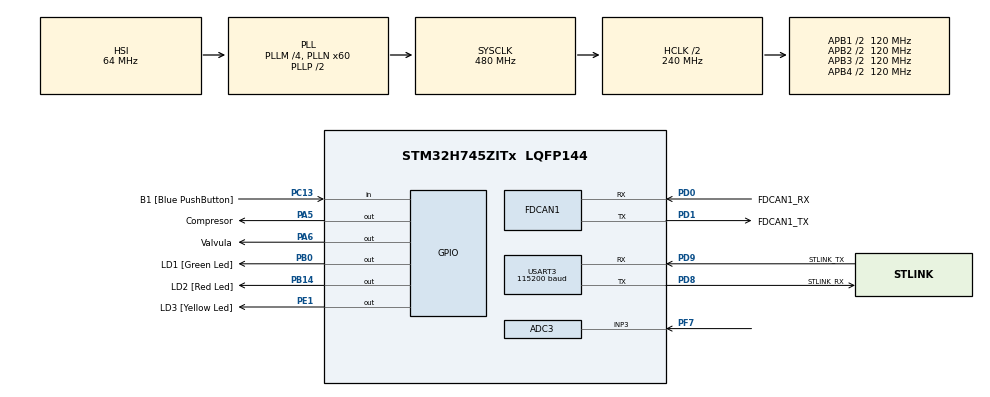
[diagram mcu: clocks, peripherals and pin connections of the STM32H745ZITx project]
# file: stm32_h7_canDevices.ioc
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ADC3.Channel-0\#ChannelRegularConversion=ADC_CHANNEL_3
ADC3.NbrOfConversionFlag=1
ADC3.OffsetNumber-0\#ChannelRegularConversion=ADC_OFFSET_NONE
ADC3.OffsetSignedSaturation-0\#ChannelRegularConversion=DISABLE
ADC3.Rank-0\#ChannelRegularConversion=1
ADC3.SamplingTime-0\#ChannelRegularConversion=ADC_SAMPLETIME_1CYCLE_5
CortexM4.IPs=BDMA,CORTEX_M4\:I,DEBUG,DMA,FATFS_M4\:I,FREERTOS_M4\:I,GPIO,IWDG2\:I,MDMA,NVIC2\:I,OPENAMP_M4\:I,PDM2PCM_M4\:I,PWR,RCC,RESMGR_UTILITY,SYS_M4\:I,USB_DEVICE_M4\:I,USB_HOST_M4\:I,VREFBUF,WWDG2\:I,USART3,ADC3
CortexM4.Pins=PE1
CortexM7.IPs=BDMA\:I,CORTEX_M7\:I,DEBUG\:I,DMA\:I,FATFS_M7\:I,FREERTOS_M7\:I,GPIO\:I,IWDG1\:I,MDMA\:I,NVIC1\:I,OPENAMP_M7\:I,PDM2PCM_M7\:I,PWR\:I,RCC\:I,RESMGR_UTILITY\:I,SYS\:I,USB_DEVICE_M7\:I,USB_HOST_M7\:I,VREFBUF\:I,WWDG1\:I,USART3\:I,FDCAN1\:I,ADC3\:I
CortexM7.Pins=PC13,PA5,PA6,PB0,PB14
FDCAN1.CalculateBaudRateNominal=250000
FDCAN1.CalculateTimeBitNominal=4000
FDCAN1.CalculateTimeQuantumNominal=50.0
FDCAN1.Mode=FDCAN_MODE_NORMAL
FDCAN1.NominalPrescaler=2
FDCAN1.NominalSyncJumpWidth=8
FDCAN1.NominalTimeSeg1=0x3F
FDCAN1.NominalTimeSeg2=16
FDCAN1.ProtocolException=ENABLE
FDCAN1.RxFifo0ElmtsNbr=1
FDCAN1.StdFiltersNbr=1
FDCAN1.TxFifoQueueElmtsNbr=1
Mcu.Family=STM32H7
Mcu.Name=STM32H745ZITx
Mcu.Package=LQFP144
NVIC1.PriorityGroup=NVIC_PRIORITYGROUP_4
NVIC2.PriorityGroup=NVIC_PRIORITYGROUP_4
PA13\ (JTMS/SWDIO).Mode=Serial_Wire
PA13\ (JTMS/SWDIO).PinAttribute=CortexM7
PA13\ (JTMS/SWDIO).Signal=DEBUG_JTMS-SWDIO
PA14\ (JTCK/SWCLK).Mode=Serial_Wire
PA14\ (JTCK/SWCLK).PinAttribute=CortexM7
PA14\ (JTCK/SWCLK).Signal=DEBUG_JTCK-SWCLK
PA5.GPIO_Label=Compresor
PA5.PinAttribute=CortexM7
PA5.Signal=GPIO_Output
PA6.GPIO_Label=Valvula
PA6.PinAttribute=CortexM7
PA6.Signal=GPIO_Output
PB0.GPIO_Label=LD1 [Green Led]
PB0.PinAttribute=CortexM7
PB0.Signal=GPIO_Output
PB14.GPIO_Label=LD2 [Red Led]
PB14.PinAttribute=CortexM7
PB14.Signal=GPIO_Output
PC13.GPIO_Label=B1 [Blue PushButton]
PC13.PinAttribute=CortexM7
PC13.Signal=GPIO_Input
PC14-OSC32_IN\ (OSC32_IN).Mode=LSE-External-Oscillator
PC14-OSC32_IN\ (OSC32_IN).PinAttribute=CortexM7
PC14-OSC32_IN\ (OSC32_IN).Signal=RCC_OSC32_IN
PC15-OSC32_OUT\ (OSC32_OUT).Mode=LSE-External-Oscillator
PC15-OSC32_OUT\ (OSC32_OUT).PinAttribute=CortexM7
PC15-OSC32_OUT\ (OSC32_OUT).Signal=RCC_OSC32_OUT
PD0.GPIO_Label=FDCAN1_RX
PD0.GPIO_Speed=GPIO_SPEED_FREQ_VERY_HIGH
PD0.Mode=FDCAN_Activate
PD0.PinAttribute=CortexM7
PD0.Signal=FDCAN1_RX
PD1.GPIO_Label=FDCAN1_TX
PD1.GPIO_PuPd=GPIO_PULLUP
PD1.GPIO_Speed=GPIO_SPEED_FREQ_VERY_HIGH
PD1.Mode=FDCAN_Activate
PD1.PinAttribute=CortexM7
PD1.Signal=FDCAN1_TX
PD8.GPIO_Label=STLINK_RX
PD8.Mode=Asynchronous
PD8.PinAttribute=CortexM7
PD8.Signal=USART3_TX
PD9.GPIO_Label=STLINK_TX
PD9.Mode=Asynchronous
PD9.PinAttribute=CortexM7
PD9.Signal=USART3_RX
PE1.GPIO_Label=LD3 [Yellow Led]
PE1.PinAttribute=CortexM4
PE1.Signal=GPIO_Output
PF7.Mode=IN3-Single-Ended
PF7.PinAttribute=CortexM7
PF7.Signal=ADC3_INP3
PH0-OSC_IN\ (PH0).Mode=HSE-External-Clock-Source
PH0-OSC_IN\ (PH0).PinAttribute=CortexM7
PH0-OSC_IN\ (PH0).Signal=RCC_OSC_IN
ProjectManager.HeapSize=M4-0x200,M7-0x200
ProjectManager.StackSize=M4-0x400,M7-0x400
ProjectManager.TargetToolchain=STM32CubeIDE
RCC.ADCFreq_Value=72000000
RCC.APB1Freq_Value=120000000
RCC.APB2Freq_Value=120000000
RCC.APB3Freq_Value=120000000
RCC.APB4Freq_Value=120000000
RCC.CortexFreq_Value=480000000
RCC.D1PPRE=RCC_APB3_DIV2
RCC.D2PPRE1=RCC_APB1_DIV2
RCC.D2PPRE2=RCC_APB2_DIV2
RCC.D3PPRE=RCC_APB4_DIV2
RCC.DIVM1=4
RCC.DIVM2=4
RCC.DIVN1=60
RCC.DIVN2=9
RCC.DIVQ1=24
RCC.HCLKFreq_Value=240000000
RCC.HPRE=RCC_HCLK_DIV2
RCC.HSE_VALUE=8000000
RCC.SYSCLKFreq_VALUE=480000000
RCC.SYSCLKSource=RCC_SYSCLKSOURCE_PLLCLK
RCC.USBFreq_Value=40000000
SYS.userName=SYS_M7
USART3.BaudRate=115200
USART3.VirtualMode-Asynchronous=VM_ASYNC
VP_SYS_M4_VS_Systick.Mode=SysTick
board=custom

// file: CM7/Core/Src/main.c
/* USER CODE BEGIN Header */
/**
  ******************************************************************************
  * @file           : main.c
  * @brief          : Main program body
  ******************************************************************************
  * @attention
  *
  * Copyright (c) 2022 STMicroelectronics.
  * All rights reserved.
  *
  * This software is licensed under terms that can be found in the LICENSE file
  * in the root directory of this software component.
  * If no LICENSE file comes with this software, it is provided AS-IS.
  *
  ******************************************************************************
  */
/* USER CODE END Header */
#include "main.h"

/* USER CODE BEGIN Includes */
#include "myprintf.h"
/* USER CODE END Includes */

/* USER CODE BEGIN PD */

#ifndef HSEM_ID_0
#define HSEM_ID_0 (0U) /* HW semaphore 0*/
#endif
/* USER CODE END PD */

ADC_HandleTypeDef hadc3;

FDCAN_HandleTypeDef hfdcan1;

UART_HandleTypeDef huart3;

/* USER CODE BEGIN PV */
FDCAN_FilterTypeDef sFilterConfig;
FDCAN_TxHeaderTypeDef TxHeader;
FDCAN_RxHeaderTypeDef RxHeader;
uint8_t TxData[8] = {0x01, 0x01, 0xFF, 0xFF, 0xFF, 0xFF, 0xFF, 0xFF};
uint8_t TxData2[8] = {0x00, 0x00, 0xFF, 0xFF, 0xFF, 0xFF, 0xFF, 0xFF};
uint8_t TxData3[8] = {0xFF, 0x32, 0xFF, 0xFF, 0xFF, 0xFF, 0xFF, 0xFF};
uint8_t RxData[8];
uint8_t pgn65273 = 0x018FEF9A3;
uint8_t pressureSetpoints[4] = {0x40, 0x3A, 0x34, 0x2E};
uint8_t tireReadings[8] = {0x00, 0x00, 0x00, 0x00, 0x00, 0x00, 0x00, 0x00};
uint8_t TxData[8];

/* USER CODE END PV */

void SystemClock_Config(void);
static void MX_GPIO_Init(void);
static void MX_USART3_UART_Init(void);
static void MX_FDCAN1_Init(void);
static void MX_ADC3_Init(void);

int main(void)
{
/* USER CODE BEGIN Boot_Mode_Sequence_0 */
  int32_t timeout;
/* USER CODE END Boot_Mode_Sequence_0 */

/* USER CODE BEGIN Boot_Mode_Sequence_1 */
  /* Wait until CPU2 boots and enters in stop mode or timeout*/
  timeout = 0xFFFF;
  while((__HAL_RCC_GET_FLAG(RCC_FLAG_D2CKRDY) != RESET) && (timeout-- > 0));
  if ( timeout < 0 )
  {
  Error_Handler();
  }
/* USER CODE END Boot_Mode_Sequence_1 */
  /* MCU Configuration--------------------------------------------------------*/

  /* Reset of all peripherals, Initializes the Flash interface and the Systick. */
  HAL_Init();

  /* Configure the system clock */
  SystemClock_Config();
/* USER CODE BEGIN Boot_Mode_Sequence_2 */
/* When system initialization is finished, Cortex-M7 will release Cortex-M4 by means of
HSEM notification */
/*HW semaphore Clock enable*/
__HAL_RCC_HSEM_CLK_ENABLE();
/*Take HSEM */
HAL_HSEM_FastTake(HSEM_ID_0);
/*Release HSEM in order to notify the CPU2(CM4)*/
HAL_HSEM_Release(HSEM_ID_0,0);
/* wait until CPU2 wakes up from stop mode */
timeout = 0xFFFF;
while((__HAL_RCC_GET_FLAG(RCC_FLAG_D2CKRDY) == RESET) && (timeout-- > 0));
if ( timeout < 0 )
{
Error_Handler();
}
/* USER CODE END Boot_Mode_Sequence_2 */

  /* Initialize all configured peripherals */
  MX_GPIO_Init();
  MX_USART3_UART_Init();
  MX_FDCAN1_Init();
  MX_ADC3_Init();
  /* USER CODE BEGIN 2 */
  uint16_t raw;
  uint16_t psi;
  uint8_t selectedPSI;
  uint8_t recData[10];
  uint32_t CH1_DC = 0;
  /* USER CODE END 2 */

  /* Infinite loop */
  /* USER CODE BEGIN WHILE */
  HAL_GPIO_WritePin(Compresor_GPIO_Port, Compresor_Pin, GPIO_PIN_SET);
  while (1)
  {
    /* USER CODE END WHILE */
	  //printf("Safe\n\r");
	  if(HAL_UART_Receive(&huart3, (uint8_t)recData[0], sizeof(recData[0]), 100) == HAL_OK){
		  printf("Valor del UART: %x", recData[0]);
	  }
	  	  if (HAL_FDCAN_GetRxMessage(&hfdcan1, FDCAN_RX_FIFO0, &RxHeader, RxData) == HAL_OK){
	  	  		HAL_Delay(10);
	  	  		printf("\n\rCAN ID: %lx", RxHeader.Identifier);
	  	  		HAL_GPIO_TogglePin(LD1_GPIO_Port,LD1_Pin);
	  	  		int dataSize = RxHeader.DataLength >>  16;
	  	  		printf(" [%x]", dataSize);
	  	  		for (int i = 0; i < dataSize; i ++){
	  	  					printf(" %x", RxData[i]);
	  	  				}
	  	  		}

	  	  	  RxData[0] = 0x3A;

	  	  	  HAL_GPIO_TogglePin(LD1_GPIO_Port, LD1_Pin);
	  	  	  //HAL_Delay(100);

	  	  	  //HAL_UART_Transmit(&huart3,word, sizeof(word), 1000);
	  	  	  HAL_ADC_Start(&hadc3);
	  	  	  HAL_ADC_PollForConversion(&hadc3, HAL_MAX_DELAY);
	  	  	  raw = HAL_ADC_GetValue(&hadc3);

	  	  	  psi = raw/436.9;

	  	  	  printf("Valor del Sensor: %d PSI\r\n", psi);

	  	  	  if(RxData[0] == pressureSetpoints[0]){
	  	  		  selectedPSI = RxData[0];
	  	  	  }else if(RxData[0] == pressureSetpoints[1]){
	  	  		  selectedPSI = RxData[0];
	  	  	  }else if(RxData[0] == pressureSetpoints[2]){
	  	  		  selectedPSI = RxData[0];
	  	  	  }else if(RxData[30] == pressureSetpoints[3]){
	  	  		  selectedPSI = RxData[0];
	  	  	  }

	  	  	  selectedPSI = (int)selectedPSI - 40;
	  	  	  printf("Selected PSI: %d\r\n", selectedPSI);
			  if(psi < selectedPSI){
				HAL_GPIO_WritePin(Compresor_GPIO_Port, Compresor_Pin, GPIO_PIN_SET);
				HAL_GPIO_WritePin(Valvula_GPIO_Port, Valvula_Pin, GPIO_PIN_RESET);
			  }else if(psi > selectedPSI){
				HAL_GPIO_WritePin(Compresor_GPIO_Port, Compresor_Pin, GPIO_PIN_RESET);
				HAL_GPIO_WritePin(Valvula_GPIO_Port, Valvula_Pin, GPIO_PIN_SET);
			  }else{
				HAL_GPIO_WritePin(Compresor_GPIO_Port, Compresor_Pin, GPIO_PIN_RESET);
				HAL_GPIO_WritePin(Valvula_GPIO_Port, Valvula_Pin, GPIO_PIN_RESET);
			  }

			  tireReadings[0] = psi * 10;
			  printf("Value sent to CAN: %x\r\n", tireReadings[0]);

			  if(HAL_FDCAN_AddMessageToTxFifoQ(&hfdcan1, &TxHeader, tireReadings) != HAL_OK ){
						Error_Handler();
				}
				HAL_Delay(200);

  }
}

void SystemClock_Config(void)
{
  RCC_OscInitTypeDef RCC_OscInitStruct = {0};
  RCC_ClkInitTypeDef RCC_ClkInitStruct = {0};

  /** Supply configuration update enable
  */
  HAL_PWREx_ConfigSupply(PWR_DIRECT_SMPS_SUPPLY);

  /** Configure the main internal regulator output voltage
  */
  __HAL_PWR_VOLTAGESCALING_CONFIG(PWR_REGULATOR_VOLTAGE_SCALE0);

  while(!__HAL_PWR_GET_FLAG(PWR_FLAG_VOSRDY)) {}

  /** Macro to configure the PLL clock source
  */
  __HAL_RCC_PLL_PLLSOURCE_CONFIG(RCC_PLLSOURCE_HSI);

  /** Initializes the RCC Oscillators according to the specified parameters
  * in the RCC_OscInitTypeDef structure.
  */
  RCC_OscInitStruct.OscillatorType = RCC_OSCILLATORTYPE_HSI;
  RCC_OscInitStruct.HSIState = RCC_HSI_DIV1;
  RCC_OscInitStruct.HSICalibrationValue = RCC_HSICALIBRATION_DEFAULT;
  RCC_OscInitStruct.PLL.PLLState = RCC_PLL_ON;
  RCC_OscInitStruct.PLL.PLLSource = RCC_PLLSOURCE_HSI;
  RCC_OscInitStruct.PLL.PLLM = 4;
  RCC_OscInitStruct.PLL.PLLN = 60;
  RCC_OscInitStruct.PLL.PLLP = 2;
  RCC_OscInitStruct.PLL.PLLQ = 24;
  RCC_OscInitStruct.PLL.PLLR = 2;
  RCC_OscInitStruct.PLL.PLLRGE = RCC_PLL1VCIRANGE_3;
  RCC_OscInitStruct.PLL.PLLVCOSEL = RCC_PLL1VCOWIDE;
  RCC_OscInitStruct.PLL.PLLFRACN = 0;
  if (HAL_RCC_OscConfig(&RCC_OscInitStruct) != HAL_OK)
  {
    Error_Handler();
  }

  /** Initializes the CPU, AHB and APB buses clocks
  */
  RCC_ClkInitStruct.ClockType = RCC_CLOCKTYPE_HCLK|RCC_CLOCKTYPE_SYSCLK
                              |RCC_CLOCKTYPE_PCLK1|RCC_CLOCKTYPE_PCLK2
                              |RCC_CLOCKTYPE_D3PCLK1|RCC_CLOCKTYPE_D1PCLK1;
  RCC_ClkInitStruct.SYSCLKSource = RCC_SYSCLKSOURCE_PLLCLK;
  RCC_ClkInitStruct.SYSCLKDivider = RCC_SYSCLK_DIV1;
  RCC_ClkInitStruct.AHBCLKDivider = RCC_HCLK_DIV2;
  RCC_ClkInitStruct.APB3CLKDivider = RCC_APB3_DIV2;
  RCC_ClkInitStruct.APB1CLKDivider = RCC_APB1_DIV2;
  RCC_ClkInitStruct.APB2CLKDivider = RCC_APB2_DIV2;
  RCC_ClkInitStruct.APB4CLKDivider = RCC_APB4_DIV2;

  if (HAL_RCC_ClockConfig(&RCC_ClkInitStruct, FLASH_LATENCY_4) != HAL_OK)
  {
    Error_Handler();
  }
}

static void MX_ADC3_Init(void)
{

  ADC_ChannelConfTypeDef sConfig = {0};

  /** Common config
  */
  hadc3.Instance = ADC3;
  hadc3.Init.Resolution = ADC_RESOLUTION_16B;
  hadc3.Init.ScanConvMode = ADC_SCAN_DISABLE;
  hadc3.Init.EOCSelection = ADC_EOC_SINGLE_CONV;
  hadc3.Init.LowPowerAutoWait = DISABLE;
  hadc3.Init.ContinuousConvMode = DISABLE;
  hadc3.Init.NbrOfConversion = 1;
  hadc3.Init.DiscontinuousConvMode = DISABLE;
  hadc3.Init.ExternalTrigConv = ADC_SOFTWARE_START;
  hadc3.Init.ExternalTrigConvEdge = ADC_EXTERNALTRIGCONVEDGE_NONE;
  hadc3.Init.ConversionDataManagement = ADC_CONVERSIONDATA_DR;
  hadc3.Init.Overrun = ADC_OVR_DATA_PRESERVED;
  hadc3.Init.LeftBitShift = ADC_LEFTBITSHIFT_NONE;
  hadc3.Init.OversamplingMode = DISABLE;
  if (HAL_ADC_Init(&hadc3) != HAL_OK)
  {
    Error_Handler();
  }

  /** Configure Regular Channel
  */
  sConfig.Channel = ADC_CHANNEL_3;
  sConfig.Rank = ADC_REGULAR_RANK_1;
  sConfig.SamplingTime = ADC_SAMPLETIME_1CYCLE_5;
  sConfig.SingleDiff = ADC_SINGLE_ENDED;
  sConfig.OffsetNumber = ADC_OFFSET_NONE;
  sConfig.Offset = 0;
  sConfig.OffsetSignedSaturation = DISABLE;
  if (HAL_ADC_ConfigChannel(&hadc3, &sConfig) != HAL_OK)
  {
    Error_Handler();
  }

}

static void MX_FDCAN1_Init(void)
{

  hfdcan1.Instance = FDCAN1;
  hfdcan1.Init.FrameFormat = FDCAN_FRAME_CLASSIC;
  hfdcan1.Init.Mode = FDCAN_MODE_NORMAL;
  hfdcan1.Init.AutoRetransmission = DISABLE;
  hfdcan1.Init.TransmitPause = DISABLE;
  hfdcan1.Init.ProtocolException = ENABLE;
  hfdcan1.Init.NominalPrescaler = 2;
  hfdcan1.Init.NominalSyncJumpWidth = 8;
  hfdcan1.Init.NominalTimeSeg1 = 0x3F;
  hfdcan1.Init.NominalTimeSeg2 = 16;
  hfdcan1.Init.DataPrescaler = 1;
  hfdcan1.Init.DataSyncJumpWidth = 1;
  hfdcan1.Init.DataTimeSeg1 = 1;
  hfdcan1.Init.DataTimeSeg2 = 1;
  hfdcan1.Init.MessageRAMOffset = 0;
  hfdcan1.Init.StdFiltersNbr = 1;
  hfdcan1.Init.ExtFiltersNbr = 0;
  hfdcan1.Init.RxFifo0ElmtsNbr = 1;
  hfdcan1.Init.RxFifo0ElmtSize = FDCAN_DATA_BYTES_8;
  hfdcan1.Init.RxFifo1ElmtsNbr = 0;
  hfdcan1.Init.RxFifo1ElmtSize = FDCAN_DATA_BYTES_8;
  hfdcan1.Init.RxBuffersNbr = 0;
  hfdcan1.Init.RxBufferSize = FDCAN_DATA_BYTES_8;
  hfdcan1.Init.TxEventsNbr = 0;
  hfdcan1.Init.TxBuffersNbr = 0;
  hfdcan1.Init.TxFifoQueueElmtsNbr = 1;
  hfdcan1.Init.TxFifoQueueMode = FDCAN_TX_FIFO_OPERATION;
  hfdcan1.Init.TxElmtSize = FDCAN_DATA_BYTES_8;
  if (HAL_FDCAN_Init(&hfdcan1) != HAL_OK)
  {
    Error_Handler();
  }
  /* USER CODE BEGIN FDCAN1_Init 2 */
  /* Configure Rx filter */
       sFilterConfig.IdType = FDCAN_STANDARD_ID;
       sFilterConfig.FilterIndex = 0;
       sFilterConfig.FilterType = FDCAN_FILTER_MASK;
       sFilterConfig.FilterConfig = FDCAN_FILTER_TO_RXFIFO0;
       sFilterConfig.FilterID1 = 0x611;
       sFilterConfig.FilterID2 = 0x7FF;

       //HAL_FDCAN_ConfigGlobalFilter(&hfdcan1, FDCAN_REJECT, FDCAN_REJECT, FDCAN_REJECT_REMOTE, FDCAN_REJECT_REMOTE);

       if (HAL_FDCAN_ConfigFilter(&hfdcan1, &sFilterConfig) != HAL_OK)
         {
            /* Filter configuration Error */
            Error_Handler();
         }
        /* Start the FDCAN module */
       if (HAL_FDCAN_Start(&hfdcan1) != HAL_OK) {
           	 }
               /* Start Error */

       if (HAL_FDCAN_ActivateNotification(&hfdcan1, FDCAN_IT_RX_FIFO0_NEW_MESSAGE, 0) != HAL_OK) {
              }

            /* Notification Error */

        /* Configure Tx buffer message */
       TxHeader.Identifier = 0x018FEEEA3; //Aqui va el identificador de 29 bits
       TxHeader.IdType = FDCAN_EXTENDED_ID; //Cambie esto
       TxHeader.TxFrameType = FDCAN_DATA_FRAME;
       TxHeader.DataLength = FDCAN_DLC_BYTES_8; //Cambio a 8 bits
       TxHeader.ErrorStateIndicator = FDCAN_ESI_ACTIVE;
       TxHeader.BitRateSwitch = FDCAN_BRS_ON;
       TxHeader.FDFormat = FDCAN_FD_CAN;
       TxHeader.TxEventFifoControl = FDCAN_NO_TX_EVENTS;
       TxHeader.MessageMarker = 0x00;
      /*AAO-*/
  /* USER CODE END FDCAN1_Init 2 */

}

static void MX_USART3_UART_Init(void)
{

  huart3.Instance = USART3;
  huart3.Init.BaudRate = 115200;
  huart3.Init.WordLength = UART_WORDLENGTH_8B;
  huart3.Init.StopBits = UART_STOPBITS_1;
  huart3.Init.Parity = UART_PARITY_NONE;
  huart3.Init.Mode = UART_MODE_TX_RX;
  huart3.Init.HwFlowCtl = UART_HWCONTROL_NONE;
  huart3.Init.OverSampling = UART_OVERSAMPLING_16;
  huart3.Init.OneBitSampling = UART_ONE_BIT_SAMPLE_DISABLE;
  huart3.Init.ClockPrescaler = UART_PRESCALER_DIV1;
  huart3.AdvancedInit.AdvFeatureInit = UART_ADVFEATURE_NO_INIT;
  if (HAL_UART_Init(&huart3) != HAL_OK)
  {
    Error_Handler();
  }
  if (HAL_UARTEx_SetTxFifoThreshold(&huart3, UART_TXFIFO_THRESHOLD_1_8) != HAL_OK)
  {
    Error_Handler();
  }
  if (HAL_UARTEx_SetRxFifoThreshold(&huart3, UART_RXFIFO_THRESHOLD_1_8) != HAL_OK)
  {
    Error_Handler();
  }
  if (HAL_UARTEx_DisableFifoMode(&huart3) != HAL_OK)
  {
    Error_Handler();
  }

}

static void MX_GPIO_Init(void)
{
  GPIO_InitTypeDef GPIO_InitStruct = {0};

  /* GPIO Ports Clock Enable */
  __HAL_RCC_GPIOC_CLK_ENABLE();
  __HAL_RCC_GPIOF_CLK_ENABLE();
  __HAL_RCC_GPIOH_CLK_ENABLE();
  __HAL_RCC_GPIOA_CLK_ENABLE();
  __HAL_RCC_GPIOB_CLK_ENABLE();
  __HAL_RCC_GPIOD_CLK_ENABLE();

  /*Configure GPIO pin Output Level */
  HAL_GPIO_WritePin(GPIOA, Compresor_Pin|Valvula_Pin, GPIO_PIN_RESET);

  /*Configure GPIO pin Output Level */
  HAL_GPIO_WritePin(GPIOB, LD1_Pin|LD2_Pin, GPIO_PIN_RESET);

  /*Configure GPIO pin : B1_Pin */
  GPIO_InitStruct.Pin = B1_Pin;
  GPIO_InitStruct.Mode = GPIO_MODE_INPUT;
  GPIO_InitStruct.Pull = GPIO_NOPULL;
  HAL_GPIO_Init(B1_GPIO_Port, &GPIO_InitStruct);

  /*Configure GPIO pins : Compresor_Pin Valvula_Pin */
  GPIO_InitStruct.Pin = Compresor_Pin|Valvula_Pin;
  GPIO_InitStruct.Mode = GPIO_MODE_OUTPUT_PP;
  GPIO_InitStruct.Pull = GPIO_NOPULL;
  GPIO_InitStruct.Speed = GPIO_SPEED_FREQ_LOW;
  HAL_GPIO_Init(GPIOA, &GPIO_InitStruct);

  /*Configure GPIO pins : LD1_Pin LD2_Pin */
  GPIO_InitStruct.Pin = LD1_Pin|LD2_Pin;
  GPIO_InitStruct.Mode = GPIO_MODE_OUTPUT_PP;
  GPIO_InitStruct.Pull = GPIO_NOPULL;
  GPIO_InitStruct.Speed = GPIO_SPEED_FREQ_LOW;
  HAL_GPIO_Init(GPIOB, &GPIO_InitStruct);

}

void Error_Handler(void)
{
  __disable_irq();
  while (1)
  {
  }
}
